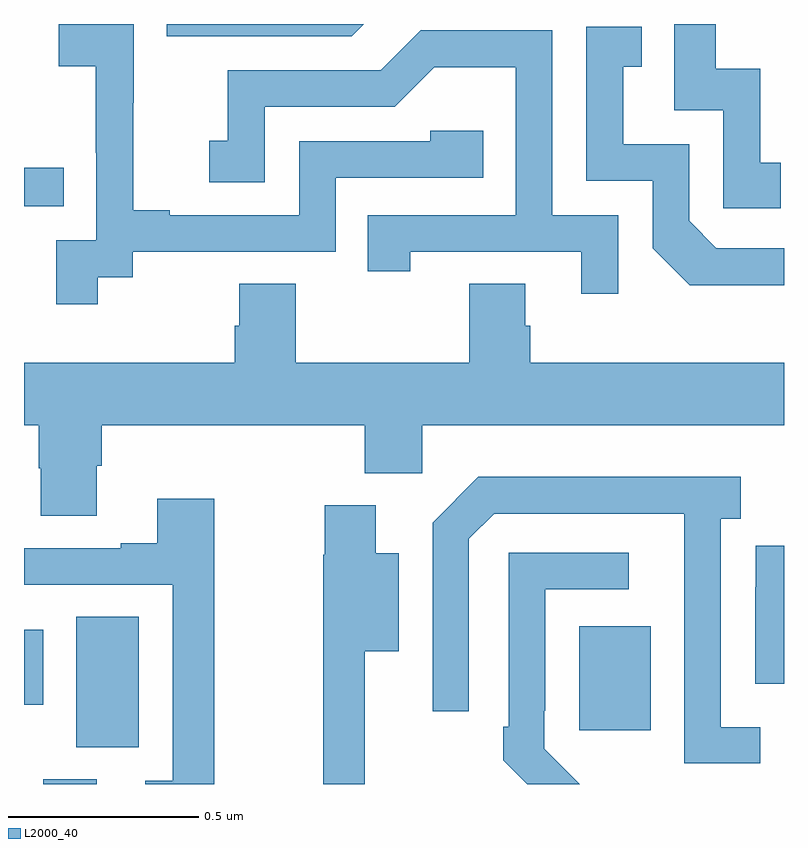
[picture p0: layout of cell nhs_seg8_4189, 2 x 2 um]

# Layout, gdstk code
import gdstk
lib = gdstk.Library(unit=1e-6, precision=1e-09)
def R(c, l, rs):  # rectangles x0, y0, x1, y1
    for r in rs: c.add(gdstk.rectangle(r[:2], r[2:], *l))
def P(c, l, *ps):  # polygons
    for p in ps: c.add(gdstk.Polygon(p, *l))
L2000_40 = (2000, 40)

nhs_seg8_4189 = lib.new_cell('nhs_seg8_4189')
R(nhs_seg8_4189, L2000_40, [(167.051,1104.9,167.191,1104.912), (167.138,1104.997,167.302,1105.34), (168.461,1105.041,168.649,1105.315), (167,1105.109,167.05,1105.306), (167,1106.421,167.105,1106.522)])
P(nhs_seg8_4189, L2000_40, [(168.991,1106.535),(168.938,1106.535),(168.938,1106.782),(168.82,1106.782),(168.82,1106.9),(168.711,1106.9),(168.711,1106.673),(168.84,1106.673),(168.84,1106.415),(168.991,1106.415)],
  [(167.894,1106.9),(167.376,1106.9),(167.376,1106.868),(167.862,1106.868)],
  [(167.194,1106.233),(167.286,1106.233),(167.286,1106.301),(167.82,1106.301),(167.82,1106.496),(168.209,1106.496),(168.209,1106.619),(168.069,1106.619),(168.069,1106.592),(167.724,1106.592),(167.724,1106.397),(167.383,1106.397),(167.383,1106.41),(167.288,1106.41),(167.288,1106.693),(167.289,1106.693),(167.289,1106.899),(167.091,1106.899),(167.091,1106.789),(167.189,1106.789),(167.189,1106.561),(167.19,1106.561),(167.19,1106.331),(167.085,1106.331),(167.085,1106.163),(167.194,1106.163)],
  [(169,1106.31),(168.822,1106.31),(168.75,1106.382),(168.75,1106.583),(168.577,1106.583),(168.577,1106.787),(168.626,1106.787),(168.626,1106.893),(168.48,1106.893),(168.48,1106.487),(168.654,1106.487),(168.654,1106.31),(168.752,1106.213),(169,1106.213)],
  [(168.564,1106.397),(168.39,1106.397),(168.39,1106.883),(168.044,1106.883),(167.939,1106.778),(167.536,1106.778),(167.536,1106.593),(167.487,1106.593),(167.487,1106.484),(167.634,1106.484),(167.634,1106.682),(167.976,1106.682),(168.08,1106.786),(168.294,1106.786),(168.294,1106.397),(167.905,1106.397),(167.905,1106.25),(168.016,1106.25),(168.016,1106.301),(168.467,1106.301),(168.467,1106.19),(168.564,1106.19)],
  [(167.191,1105.738),(167.204,1105.738),(167.204,1105.844),(167.897,1105.844),(167.897,1105.718),(168.048,1105.718),(168.048,1105.844),(169,1105.844),(169,1106.008),(168.332,1106.008),(168.332,1106.106),(168.319,1106.106),(168.319,1106.216),(168.172,1106.216),(168.172,1106.008),(167.715,1106.008),(167.715,1106.216),(167.567,1106.216),(167.567,1106.106),(167.555,1106.106),(167.555,1106.008),(167,1106.008),(167,1105.844),(167.039,1105.844),(167.039,1105.731),(167.044,1105.731),(167.044,1105.606),(167.191,1105.606)],
  [(168.937,1105.05),(168.834,1105.05),(168.834,1105.598),(168.886,1105.598),(168.886,1105.708),(168.196,1105.708),(168.075,1105.587),(168.075,1105.092),(168.171,1105.092),(168.171,1105.545),(168.237,1105.611),(168.737,1105.611),(168.737,1105.411),(168.738,1105.411),(168.738,1104.954),(168.937,1104.954)],
  [(167.5,1105.651),(167.351,1105.651),(167.351,1105.534),(167.255,1105.534),(167.255,1105.521),(167,1105.521),(167,1105.425),(167.391,1105.425),(167.391,1104.909),(167.319,1104.909),(167.319,1104.9),(167.5,1104.9)],
  [(167.897,1105.25),(167.986,1105.25),(167.986,1105.507),(167.926,1105.507),(167.926,1105.633),(167.791,1105.633),(167.791,1105.503),(167.787,1105.503),(167.787,1104.9),(167.897,1104.9)],
  [(169,1105.527),(168.925,1105.527),(168.925,1105.418),(168.924,1105.418),(168.924,1105.164),(169,1105.164)],
  [(168.369,1104.993),(168.369,1105.093),(168.372,1105.093),(168.372,1105.413),(168.592,1105.413),(168.592,1105.509),(168.276,1105.509),(168.276,1105.051),(168.261,1105.051),(168.261,1104.963),(168.324,1104.9),(168.463,1104.9)])

lib.write_gds('nhs_seg8_4189.gds')
